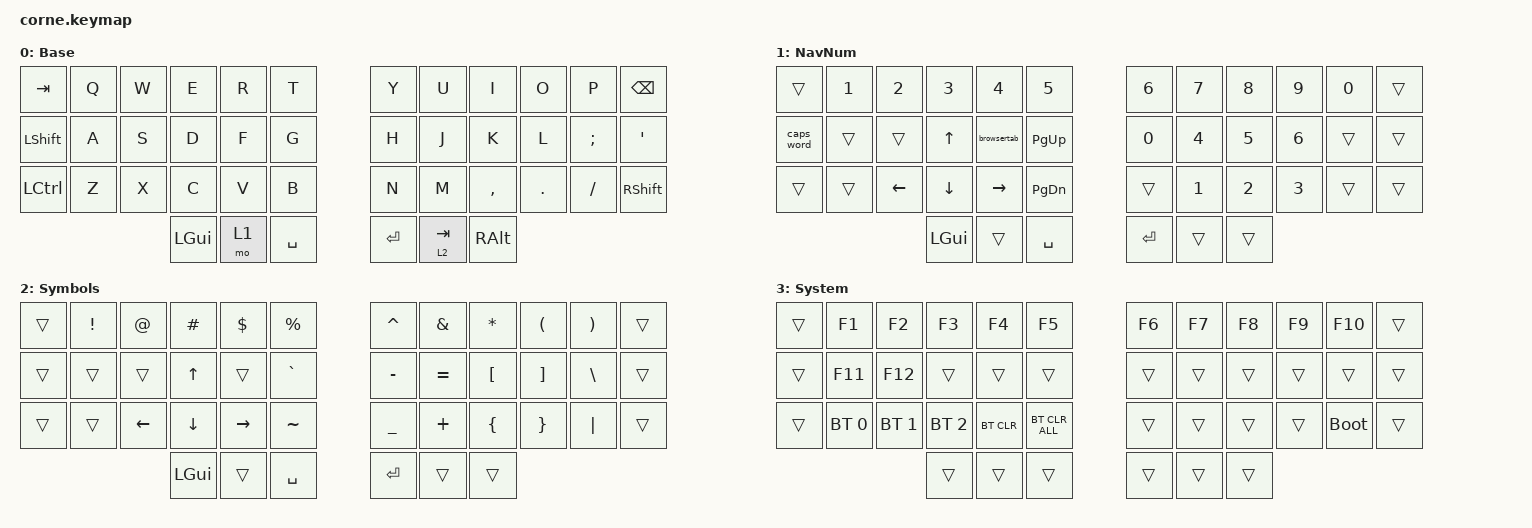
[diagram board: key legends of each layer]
#include <behaviors.dtsi>
#include <dt-bindings/zmk/bt.h>
#include <dt-bindings/zmk/keys.h>

#define DEF 0
#define NAV 1
#define SYM 2
#define ADJ 3

/ {
    behaviors {
        hm: homerow_mods {
            compatible = "zmk,behavior-hold-tap";
            label = "HOMEROW_MODS";
            #binding-cells = <2>;
            tapping-term-ms = <200>;
            quick_tap_ms = <0>;
            flavor = "tap-preferred";
            bindings = <&kp>, <&kp>;

            quick-tap-ms = <180>;
            global-quick-tap;
        };

        para: para {
            compatible = "zmk,behavior-tap-dance";
            label = "PARA";
            #binding-cells = <0>;
            bindings = <&kp LEFT_PARENTHESIS>, <&kp RIGHT_PARENTHESIS>;
        };

        caps: caps {
            compatible = "zmk,behavior-caps-word";
            label = "CAPS";
            #binding-cells = <0>;
            continue-list = <MINUS BACKSPACE>;
        };

        paraless: paraless {
            compatible = "zmk,behavior-mod-morph";
            label = "PARALESS";
            bindings = <&kp LEFT_PARENTHESIS>, <&kp LESS_THAN>;

            #binding-cells = <0>;
            mods = <(MOD_LSFT)>;
        };

        paragreat: paragreat {
            compatible = "zmk,behavior-mod-morph";
            label = "PARAGREAT";
            bindings = <&kp RIGHT_PARENTHESIS>, <&kp GREATER_THAN>;

            #binding-cells = <0>;
            mods = <(MOD_LSFT)>;
        };
    };

    macros {
        browsertab: browsertab {
            compatible = "zmk,behavior-macro";
            #binding-cells = <0>;
            bindings =
                <&macro_press>,
                <&kp LCTRL>,
                <&macro_tap>,
                <&kp TAB>,
                <&macro_release>,
                <&kp LCTRL>;
        };

        adob: adob {
            compatible = "zmk,behavior-macro";
            #binding-cells = <0>;
            bindings =
                <&macro_press>,
                <&kp LS(RIGHT_ALT)>,
                <&macro_tap>,
                <&kp KP_NUMBER_1 &kp KP_NUMBER_3 &kp KP_NUMBER_2>,
                <&macro_release>,
                <&kp RIGHT_ALT>;

            label = "ADOB";
        };
    };

    combos {
        compatible = "zmk,combos";

        escape {
            bindings = <&kp ESCAPE>;
            key-positions = <13 29>;
        };

        delete {
            bindings = <&kp DELETE>;
            key-positions = <15 21>;
        };

        perc {
            bindings = <&kp PERCENT>;
            key-positions = <5 17>;
        };

        equal {
            bindings = <&kp EQUAL>;
            key-positions = <28 16>;
        };

        dollar {
            bindings = <&kp DOLLAR>;
            key-positions = <4 16>;
        };

        pound {
            bindings = <&kp POUND>;
            key-positions = <3 15>;
        };

        at {
            bindings = <&kp AT>;
            key-positions = <2 14>;
        };

        copy {
            bindings = <&kp K_COPY>;
            key-positions = <28 27>;
        };

        paste {
            bindings = <&kp K_PASTE>;
            key-positions = <26 27>;
        };

        star {
            bindings = <&kp STAR>;
            key-positions = <8 20>;
        };

        plus {
            bindings = <&kp PLUS>;
            key-positions = <7 19>;
        };

        para-less {
            bindings = <&paraless>;
            key-positions = <20 19>;
        };

        para-great {
            bindings = <&paragreat>;
            key-positions = <20 21>;
        };

        one {
            bindings = <&kp NUMBER_1>;
            key-positions = <24 12 12 24>;
        };

        two {
            bindings = <&kp NUMBER_2>;
            key-positions = <13 25>;
        };

        three {
            bindings = <&kp NUMBER_3>;
            key-positions = <14 26>;
        };

        four {
            bindings = <&kp NUMBER_4>;
            key-positions = <15 27>;
        };

        five {
            bindings = <&kp NUMBER_5>;
            key-positions = <16 28>;
        };

        six {
            bindings = <&kp NUMBER_6>;
            key-positions = <19 31>;
        };

        seven {
            bindings = <&kp NUMBER_7>;
            key-positions = <20 32>;
        };

        eight {
            bindings = <&kp NUMBER_8>;
            key-positions = <21 33>;
        };

        nine {
            bindings = <&kp NUMBER_9>;
            key-positions = <22 34>;
        };

        zero {
            bindings = <&kp NUMBER_0>;
            key-positions = <23 35>;
        };

        lbracket {
            bindings = <&kp LEFT_BRACKET>;
            key-positions = <17 29>;
        };

        rbracket {
            bindings = <&kp RIGHT_BRACKET>;
            key-positions = <18 30>;
        };
    };

    //

    keymap {
        compatible = "zmk,keymap";

        DEF {
            display-name = "Base";

            // -----------------------------------------------------------------------------------------
            // |  Q  |  W  |  E  |  R  |  T  |   |  Y  |  U   |  I  |  O  |  P  |
            // |  A  |  S  |  D  |  F  |  G  |   |  H  |  J   |  K  |  L  |  ;  |
            // |  Z  |  X  |  C  |  V  |  B  |   |  N  |  M   |  ,  |  .  |  /  |
            // | GUI | CTRL | SHFT | LWR | SPC |   | ENT | RSE  | BKSP | ALT | ESC |

            bindings = <
&kp TAB    &kp Q  &kp W  &kp E     &kp R  &kp T        &kp Y    &kp U      &kp I          &kp O    &kp P     &kp BACKSPACE
&kp LSHFT  &kp A  &kp S  &kp D     &kp F  &kp G        &kp H    &kp J      &kp K          &kp L    &kp SEMI  &kp SQT
&kp LCTRL  &kp Z  &kp X  &kp C     &kp V  &kp B        &kp N    &kp M      &kp COMMA      &kp DOT  &kp FSLH  &kp RSHFT
                         &kp LGUI  &mo 1  &kp SPACE    &kp RET  &lt 2 TAB  &kp RIGHT_ALT
            >;
        };

        NAV {
            display-name = "NavNum";

            // -----------------------------------------------------------------------------------------
            // |  TAB |  1  |  2  |  3  |  4  |  5  |   |  6  |  7  |  8  |  9  |  0  | BKSP |
            // | BTCLR| BT1 | BT2 | BT3 | BT4 | BT5 |   | LFT | DWN |  UP | RGT |     |      |
            // | SHFT |     |     |     |     |     |   |     |     |     |     |     |      |
            // | GUI | CTRL | SHFT | LWR | SPC |   | ENT | RSE  | BKSP | ALT | ESC |

            bindings = <
&trans      &kp N1  &kp N2    &kp N3        &kp N4           &kp N5           &kp N6   &kp N7  &kp N8  &kp N9  &kp N0  &trans
&caps_word  &trans  &trans    &kp UP_ARROW  &browsertab      &kp PAGE_UP      &kp N0   &kp N4  &kp N5  &kp N6  &trans  &trans
&trans      &trans  &kp LEFT  &kp DOWN      &kp RIGHT_ARROW  &kp PAGE_DOWN    &trans   &kp N1  &kp N2  &kp N3  &trans  &trans
                              &kp LGUI      &trans           &kp SPACE        &kp RET  &trans  &trans
            >;
        };

        SYM {
            display-name = "Symbols";

            // -----------------------------------------------------------------------------------------
            // |  TAB |  !  |  @  |  #  |  $  |  %  |   |  ^  |  &  |  *  |  (  |  )  | BKSP |
            // | CTRL |     |     |     |     |     |   |  -  |  =  |  [  |  ]  |  \  |  `   |
            // | SHFT |     |     |     |     |     |   |  _  |  +  |  {  |  }  | "|" |  ~   |
            //                    | GUI |     | SPC |   | ENT |     | ALT |

            bindings = <
&trans  &kp EXCL  &kp AT          &kp HASH        &kp DLLR         &kp PRCNT    &kp CARET  &kp AMPS   &kp ASTRK  &kp LEFT_PARENTHESIS  &kp RPAR  &trans
&trans  &trans    &trans          &kp UP_ARROW    &trans           &kp GRAVE    &kp MINUS  &kp EQUAL  &kp LBKT   &kp RBKT              &kp BSLH  &trans
&trans  &trans    &kp LEFT_ARROW  &kp DOWN_ARROW  &kp RIGHT_ARROW  &kp TILDE    &kp UNDER  &kp PLUS   &kp LBRC   &kp RBRC              &kp PIPE  &trans
                                  &kp LGUI        &trans           &kp SPACE    &kp RET    &trans     &trans
            >;
        };

        ADJ {
            display-name = "System";
            bindings = <
&trans  &kp F1        &kp F2        &kp F3        &kp F4      &kp F5            &kp F6  &kp F7  &kp F8  &kp F9  &kp F10      &trans
&trans  &kp F11       &kp F12       &trans        &trans      &trans            &trans  &trans  &trans  &trans  &trans       &trans
&trans  &bt BT_SEL 0  &bt BT_SEL 1  &bt BT_SEL 2  &bt BT_CLR  &bt BT_CLR_ALL    &trans  &trans  &trans  &trans  &bootloader  &trans
                                    &trans        &trans      &trans            &trans  &trans  &trans
            >;
        };
    };

    conditional_layers {
        compatible = "zmk,conditional-layers";

        l3 {
            if-layers = <1 2>;
            then-layer = <3>;
        };
    };
};
